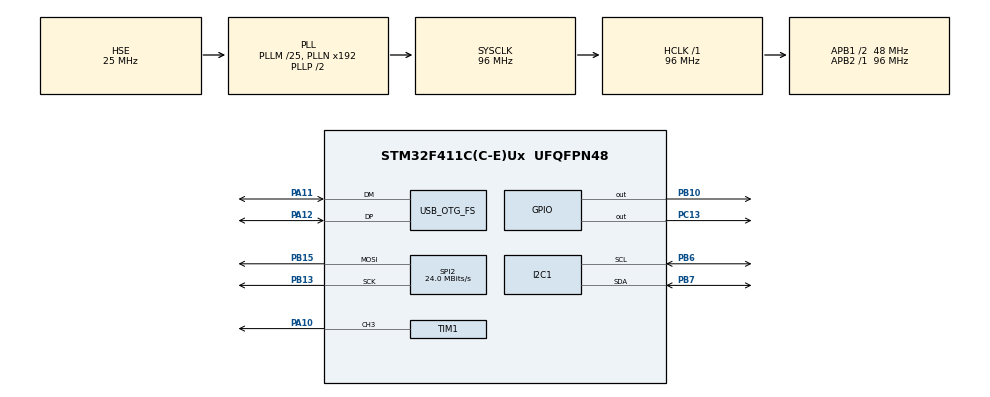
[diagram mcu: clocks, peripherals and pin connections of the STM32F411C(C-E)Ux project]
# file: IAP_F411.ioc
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Mcu.Family=STM32F4
Mcu.Name=STM32F411C(C-E)Ux
Mcu.Package=UFQFPN48
NVIC.OTG_FS_IRQn=true\:0\:0\:false\:false\:true\:false\:true\:true
NVIC.PriorityGroup=NVIC_PRIORITYGROUP_4
PA10.Signal=S_TIM1_CH3
PA11.Mode=Device_Only
PA11.Signal=USB_OTG_FS_DM
PA12.Mode=Device_Only
PA12.Signal=USB_OTG_FS_DP
PA13.Mode=Serial_Wire
PA13.Signal=SYS_JTMS-SWDIO
PA14.Mode=Serial_Wire
PA14.Signal=SYS_JTCK-SWCLK
PB10.GPIO_PuPd=GPIO_PULLDOWN
PB10.PinState=GPIO_PIN_RESET
PB10.Signal=GPIO_Output
PB13.Mode=TX_Only_Simplex_Unidirect_Master
PB13.Signal=SPI2_SCK
PB15.Mode=TX_Only_Simplex_Unidirect_Master
PB15.Signal=SPI2_MOSI
PB6.Mode=I2C
PB6.Signal=I2C1_SCL
PB7.Mode=I2C
PB7.Signal=I2C1_SDA
PC13-ANTI_TAMP.PinState=GPIO_PIN_SET
PC13-ANTI_TAMP.Signal=GPIO_Output
PH0\ -\ OSC_IN.Mode=HSE-External-Oscillator
PH0\ -\ OSC_IN.Signal=RCC_OSC_IN
PH1\ -\ OSC_OUT.Mode=HSE-External-Oscillator
PH1\ -\ OSC_OUT.Signal=RCC_OSC_OUT
ProjectManager.HeapSize=0x200
ProjectManager.StackSize=0x1000
ProjectManager.TargetToolchain=CMake
RCC.48MHZClocksFreq_Value=48000000
RCC.AHBFreq_Value=96000000
RCC.APB1CLKDivider=RCC_HCLK_DIV2
RCC.APB1Freq_Value=48000000
RCC.APB1TimFreq_Value=96000000
RCC.APB2Freq_Value=96000000
RCC.APB2TimFreq_Value=96000000
RCC.CortexFreq_Value=96000000
RCC.HCLKFreq_Value=96000000
RCC.HSE_VALUE=25000000
RCC.HSI_VALUE=16000000
RCC.LSE_VALUE=32768
RCC.PLLM=25
RCC.SYSCLKFreq_VALUE=96000000
RCC.SYSCLKSource=RCC_SYSCLKSOURCE_PLLCLK
RCC.VCOOutputFreq_Value=192000000
SH.S_TIM1_CH3.0=TIM1_CH3,PWM Generation3 CH3
SPI2.CLKPhase=SPI_PHASE_2EDGE
SPI2.CLKPolarity=SPI_POLARITY_HIGH
SPI2.CalculateBaudRate=24.0 MBits/s
SPI2.Direction=SPI_DIRECTION_2LINES
SPI2.Mode=SPI_MODE_MASTER
SPI2.VirtualType=VM_MASTER
TIM1.Channel-PWM\ Generation3\ CH3=TIM_CHANNEL_3
TIM1.Period=250
TIM1.Prescaler=99
USB_DEVICE.CLASS_NAME_FS=CDC
USB_DEVICE.VirtualMode=Cdc
USB_DEVICE.VirtualModeFS=Cdc_FS
USB_OTG_FS.VirtualMode=Device_Only
VP_CRC_VS_CRC.Mode=CRC_Activate
VP_USB_DEVICE_VS_USB_DEVICE_CDC_FS.Mode=CDC_FS
board=custom

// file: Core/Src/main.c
/* USER CODE BEGIN Header */
/**
  ******************************************************************************
  * @file           : main.c
  * @brief          : Main program body
  ******************************************************************************
  * @attention
  *
  * Copyright (c) 2024 STMicroelectronics.
  * All rights reserved.
  *
  * This software is licensed under terms that can be found in the LICENSE file
  * in the root directory of this software component.
  * If no LICENSE file comes with this software, it is provided AS-IS.
  *
  ******************************************************************************
  */
/* USER CODE END Header */
#include "main.h"
#include "crc.h"
#include "i2c.h"
#include "spi.h"
#include "tim.h"
#include "usb_device.h"
#include "gpio.h"

/* USER CODE BEGIN Includes */
#include <string.h>
#include <stdio.h>
#include "menu.h"
#include "common.h"
#include "delay.h"
#include "lcd.h"
#include "lcd_init.h"
#include "key.h"
#include "BL24C02.h"
/* USER CODE END Includes */

/* USER CODE BEGIN PV */

extern pFunction Jump_To_Application;
extern uint32_t JumpAddress;

/* USER CODE END PV */

void SystemClock_Config(void);

/* USER CODE BEGIN 0 */
void Bootloader_Main(void)
{
  // Bootloader 循环等待上位机指令
  while (1)
  {
      // 1. 发送握手信号
      USB_PutString("##PICO_BOOT##\r\n");
      // 2. 在延时期间(比如500ms)不断检查有没有收到数据
      // 这样既实现了延时，又不会阻塞接收
      uint8_t key = 0;
      for (int i = 0; i < 50; i++)
      {
          // USB_KeyPressed 应该是一个非阻塞检查函数
          // 如果收到数据返回 1，否则返回 0
          if (USB_KeyPressed(&key))
          {
              if (key == '0')
              {
                  // 收到 '0'，进入菜单
                  Main_Menu();
              }
          }
          HAL_Delay(10); // 每次只延时 10ms，检查 50 次 = 500ms
      }
  }
}
/* USER CODE END 0 */

int main(void)
{

  /* USER CODE BEGIN 1 */
	SCB->VTOR = FLASH_BASE;
  /* USER CODE END 1 */

  /* MCU Configuration--------------------------------------------------------*/

  /* Reset of all peripherals, Initializes the Flash interface and the Systick. */
  HAL_Init();

  /* Configure the system clock */
  SystemClock_Config();

  /* Initialize all configured peripherals */
  MX_GPIO_Init();
  MX_SPI2_Init();
  MX_TIM1_Init();
  MX_I2C1_Init();
  MX_USB_DEVICE_Init();
  MX_CRC_Init();
  /* USER CODE BEGIN 2 */

	//sys delay
	delay_init();

  //key_boot
	Key_Port_Init();

	// PWM Start for LCD backlight
	HAL_TIM_PWM_Start(&htim1, TIM_CHANNEL_3);

	//lcd
	LCD_Init();
	LCD_Fill(0, 0, LCD_W, LCD_H, BLACK);
	delay_ms(10);
	LCD_Set_Light(50);

	// extern eeprom BL24C02
	uint8_t update_flag = 0;
	if(!EEPROM_Init_Check()) {
		update_flag = EEPROM_UpdateCommand_Check();
		if(EEPROM_UpdateCommand_Check()) {
			USB_PutString("enter firmware update mode\r\n");
			EEPROM_UpdateCommand_Write(false);
		}
	}

  // 开机启动时如果按下KEY, 或EEPROM有升级标志, 进入boot中IAP升级模式
  if(HAL_GPIO_ReadPin(KEYB_PORT, KEYB_PIN) == 0 || update_flag)
  {
		// 延时判断是否真的按下
    delay_ms(500);
    if(HAL_GPIO_ReadPin(KEYB_PORT, KEYB_PIN) == 0 || update_flag)
    {
      LCD_ShowString(72, LCD_H/3, (uint8_t*)"Bootload", WHITE, BLACK, 24, 0);//12*6,16*8,24*12,32*16
      FLASH_If_Init();
      Bootloader_Main();
    }
  }

  // 如果没按下KEY1, 且有APP程序, 则运行APP, 没有APP则
  else
  {
    UpgradeInfo_t app_info;
    pFunction Jump_To_Application;

    // 1. 从独立的校验区(Sector 3)读取升级信息结构体
    memcpy(&app_info, (void*)UPGRADE_INFO_ADDRESS, sizeof(UpgradeInfo_t));

    // 2. 检查标志是否有效 (魔法字和完成状态)
    if (app_info.magic_word == MAGIC_WORD && app_info.upgrade_status == UPGRADE_STATUS_COMPLETE)
    {
        // 3. 校验APP固件的完整性
        uint32_t current_crc = Calculate_CRC32(APPLICATION_ADDRESS, app_info.new_app_size);

        if (current_crc == app_info.new_app_crc32)
        {
            // 4. 校验成功，执行跳转
            USB_PutString("Valid APP found, jumping to application...\r\n");
            jump_to_app();
        }
    }
		// no legal APP
		else
		{
      USB_PutString("No App found, enter firmware update mode\r\n");
			LCD_ShowString(74, LCD_H/3, (uint8_t*)"No App!", WHITE, BLACK, 24, 0);//12*6,16*8,24*12,32*16
      LCD_ShowString(24, LCD_H/3+48, (uint8_t*)"Plz Download APP", WHITE, BLACK, 24, 0);
			HAL_Delay(2000);
			LCD_ShowString(72, LCD_H/3, (uint8_t*)"Bootload", WHITE, BLACK, 24, 0);//12*6,16*8,24*12,32*16
      FLASH_If_Init();
      Bootloader_Main();
		}
  }

  /* USER CODE END 2 */

  /* Infinite loop */
  while (1)
  {

    /* USER CODE BEGIN 3 */
		HAL_Delay(500);
  }
  /* USER CODE END 3 */
}

void SystemClock_Config(void)
{
  RCC_OscInitTypeDef RCC_OscInitStruct = {0};
  RCC_ClkInitTypeDef RCC_ClkInitStruct = {0};

  /** Configure the main internal regulator output voltage
  */
  __HAL_RCC_PWR_CLK_ENABLE();
  __HAL_PWR_VOLTAGESCALING_CONFIG(PWR_REGULATOR_VOLTAGE_SCALE1);

  /** Initializes the RCC Oscillators according to the specified parameters
  * in the RCC_OscInitTypeDef structure.
  */
  RCC_OscInitStruct.OscillatorType = RCC_OSCILLATORTYPE_HSE;
  RCC_OscInitStruct.HSEState = RCC_HSE_ON;
  RCC_OscInitStruct.PLL.PLLState = RCC_PLL_ON;
  RCC_OscInitStruct.PLL.PLLSource = RCC_PLLSOURCE_HSE;
  RCC_OscInitStruct.PLL.PLLM = 25;
  RCC_OscInitStruct.PLL.PLLN = 192;
  RCC_OscInitStruct.PLL.PLLP = RCC_PLLP_DIV2;
  RCC_OscInitStruct.PLL.PLLQ = 4;
  if (HAL_RCC_OscConfig(&RCC_OscInitStruct) != HAL_OK)
  {
    Error_Handler();
  }

  /** Initializes the CPU, AHB and APB buses clocks
  */
  RCC_ClkInitStruct.ClockType = RCC_CLOCKTYPE_HCLK|RCC_CLOCKTYPE_SYSCLK
                              |RCC_CLOCKTYPE_PCLK1|RCC_CLOCKTYPE_PCLK2;
  RCC_ClkInitStruct.SYSCLKSource = RCC_SYSCLKSOURCE_PLLCLK;
  RCC_ClkInitStruct.AHBCLKDivider = RCC_SYSCLK_DIV1;
  RCC_ClkInitStruct.APB1CLKDivider = RCC_HCLK_DIV2;
  RCC_ClkInitStruct.APB2CLKDivider = RCC_HCLK_DIV1;

  if (HAL_RCC_ClockConfig(&RCC_ClkInitStruct, FLASH_LATENCY_3) != HAL_OK)
  {
    Error_Handler();
  }
}

void Error_Handler(void)
{
  __disable_irq();
  while (1)
  {
  }
}

#ifdef  USE_FULL_ASSERT
/**
  * @brief  Reports the name of the source file and the source line number
  *         where the assert_param error has occurred.
  * @param  file: pointer to the source file name
  * @param  line: assert_param error line source number
  * @retval None
  */
void assert_failed(uint8_t *file, uint32_t line)
{
  /* USER CODE BEGIN 6 */
  /* User can add his own implementation to report the file name and line number,
     ex: Serial_PutString("Wrong parameters value: file %s on line %d\r\n", file, line) */
  /* USER CODE END 6 */
}
#endif /* USE_FULL_ASSERT */
